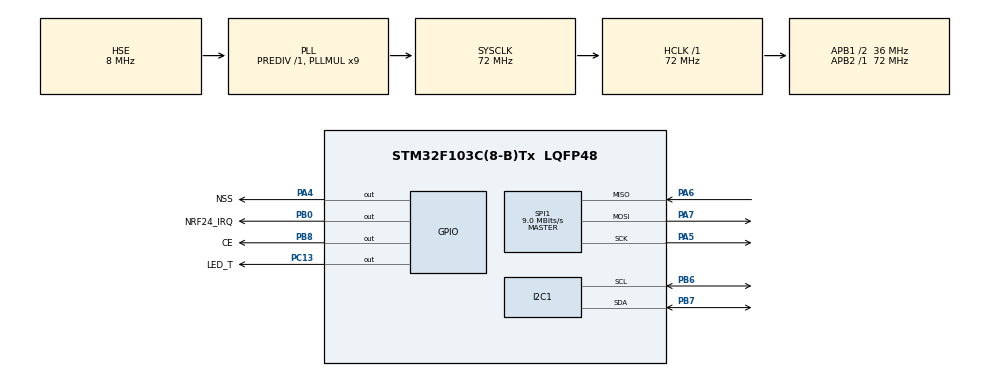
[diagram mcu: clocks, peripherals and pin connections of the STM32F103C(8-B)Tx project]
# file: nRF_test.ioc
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Dma.Request0=SPI1_RX
Dma.Request1=SPI1_TX
Dma.SPI1_RX.0.Direction=DMA_PERIPH_TO_MEMORY
Dma.SPI1_RX.0.Instance=DMA1_Channel2
Dma.SPI1_RX.0.MemDataAlignment=DMA_MDATAALIGN_BYTE
Dma.SPI1_RX.0.MemInc=DMA_MINC_ENABLE
Dma.SPI1_RX.0.Mode=DMA_NORMAL
Dma.SPI1_RX.0.PeriphDataAlignment=DMA_PDATAALIGN_BYTE
Dma.SPI1_RX.0.PeriphInc=DMA_PINC_DISABLE
Dma.SPI1_RX.0.Priority=DMA_PRIORITY_LOW
Dma.SPI1_TX.1.Direction=DMA_MEMORY_TO_PERIPH
Dma.SPI1_TX.1.Instance=DMA1_Channel3
Dma.SPI1_TX.1.MemDataAlignment=DMA_MDATAALIGN_BYTE
Dma.SPI1_TX.1.MemInc=DMA_MINC_ENABLE
Dma.SPI1_TX.1.Mode=DMA_NORMAL
Dma.SPI1_TX.1.PeriphDataAlignment=DMA_PDATAALIGN_BYTE
Dma.SPI1_TX.1.PeriphInc=DMA_PINC_DISABLE
Dma.SPI1_TX.1.Priority=DMA_PRIORITY_LOW
I2C1.DualAddressMode=I2C_DUALADDRESS_DISABLE
I2C1.DutyCycle=I2C_DUTYCYCLE_16_9
I2C1.I2C_Mode=I2C_Fast
I2C1.NoStretchMode=I2C_NOSTRETCH_DISABLE
Mcu.Family=STM32F1
Mcu.Name=STM32F103C(8-B)Tx
Mcu.Package=LQFP48
NVIC.DMA1_Channel2_IRQn=true\:0\:0\:false\:false\:true\:false\:true\:true
NVIC.DMA1_Channel3_IRQn=true\:0\:0\:false\:false\:true\:false\:true\:true
NVIC.PriorityGroup=NVIC_PRIORITYGROUP_4
PA13.Mode=Serial_Wire
PA13.Signal=SYS_JTMS-SWDIO
PA14.Mode=Serial_Wire
PA14.Signal=SYS_JTCK-SWCLK
PA4.GPIO_Label=NSS
PA4.Signal=GPIO_Output
PA5.Mode=Full_Duplex_Master
PA5.Signal=SPI1_SCK
PA6.Mode=Full_Duplex_Master
PA6.Signal=SPI1_MISO
PA7.Mode=Full_Duplex_Master
PA7.Signal=SPI1_MOSI
PB0.GPIO_Label=NRF24_IRQ
PB0.Signal=GPIO_Output
PB6.Mode=I2C
PB6.Signal=I2C1_SCL
PB7.Mode=I2C
PB7.Signal=I2C1_SDA
PB8.GPIO_Label=CE
PB8.Signal=GPIO_Output
PC13-TAMPER-RTC.GPIO_Label=LED_T
PC13-TAMPER-RTC.Signal=GPIO_Output
PC14-OSC32_IN.Mode=LSE-External-Oscillator
PC14-OSC32_IN.Signal=RCC_OSC32_IN
PC15-OSC32_OUT.Mode=LSE-External-Oscillator
PC15-OSC32_OUT.Signal=RCC_OSC32_OUT
PD0-OSC_IN.Mode=HSE-External-Oscillator
PD0-OSC_IN.Signal=RCC_OSC_IN
PD1-OSC_OUT.Mode=HSE-External-Oscillator
PD1-OSC_OUT.Signal=RCC_OSC_OUT
ProjectManager.HeapSize=0x200
ProjectManager.StackSize=0x400
ProjectManager.TargetToolchain=MDK-ARM V5.32
RCC.AHBFreq_Value=72000000
RCC.APB1CLKDivider=RCC_HCLK_DIV2
RCC.APB1Freq_Value=36000000
RCC.APB1TimFreq_Value=72000000
RCC.APB2Freq_Value=72000000
RCC.APB2TimFreq_Value=72000000
RCC.HCLKFreq_Value=72000000
RCC.PLLMUL=RCC_PLL_MUL9
RCC.PLLSourceVirtual=RCC_PLLSOURCE_HSE
RCC.SYSCLKFreq_VALUE=72000000
RCC.SYSCLKSource=RCC_SYSCLKSOURCE_PLLCLK
RCC.USBFreq_Value=72000000
SPI1.BaudRatePrescaler=SPI_BAUDRATEPRESCALER_8
SPI1.CRCCalculation=SPI_CRCCALCULATION_DISABLE
SPI1.CalculateBaudRate=9.0 MBits/s
SPI1.Direction=SPI_DIRECTION_2LINES
SPI1.Mode=SPI_MODE_MASTER
SPI1.VirtualType=VM_MASTER
board=custom

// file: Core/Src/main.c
/* USER CODE BEGIN Header */
/**
 ******************************************************************************
 * @file           : main.c
 * @brief          : Main program body
 ******************************************************************************
 * @attention
 *
 * Copyright (c) 2023 STMicroelectronics.
 * All rights reserved.
 *
 * This software is licensed under terms that can be found in the LICENSE file
 * in the root directory of this software component.
 * If no LICENSE file comes with this software, it is provided AS-IS.
 *
 ******************************************************************************
 */
/* USER CODE END Header */
#include "main.h"
#include "dma.h"
#include "i2c.h"
#include "spi.h"
#include "gpio.h"

/* USER CODE BEGIN Includes */
#include "oled.h"
#include "24l01.h"
/* USER CODE END Includes */

/* USER CODE BEGIN PM */
uint8_t txdata[32] = {31, 'B', 'B', 'B', 'B', 'B', 'B', 'B', 'B', 'B', 'B', 'B', 'B', 'B', 'B', 'B', 'B', 'B',
                      'B', 'B', 'B', 'B', 'B', 'B', 'B', 'B', 'B', 'B', 'B', 'B', 'B', 'B'};
uint8_t rxdata[32];

/* USER CODE END PM */

void SystemClock_Config(void);

int main(void)
{

    /* MCU Configuration--------------------------------------------------------*/

    /* Reset of all peripherals, Initializes the Flash interface and the Systick. */
    HAL_Init();

    /* Configure the system clock */
    SystemClock_Config();

    /* Initialize all configured peripherals */
    MX_GPIO_Init();
    MX_DMA_Init();
    MX_SPI1_Init();
    MX_I2C1_Init();
    /* USER CODE BEGIN 2 */
    HAL_GPIO_WritePin(LED_T_GPIO_Port, LED_T_Pin, GPIO_PIN_SET);
    OLED_Init();
    OLED_ShowString(1, 1, "hello world!");

    HAL_Delay(2000);
    /* USER CODE END 2 */

    /* Infinite loop */
    while (1)
    {

        /* USER CODE BEGIN 3 */
        //     while (NRF24L01_Check())
        //         ;
        //     if (NRF24L01_RxPacket(rxdata) == 0) // �??旦接收到信息,则显示出�??.
        //     {
        //         rxdata[32] = 0; // 加入字符串结束符
        //         NRF24L01_TX_Mode();
        //         NRF24L01_TxPacket(txdata);
        //     }
        //     HAL_Delay(500);
        // }

        NRF24L01_TX_Mode();
        HAL_Delay(0);
        while (1)
        {
            if (NRF24L01_TxPacket(txdata) == TX_OK)
            {
                OLED_ShowString(1, 1, "Sended DATA:");
                OLED_ShowString(2, 1, (char *)txdata);
            }
            else
            {
                OLED_Clear();
                OLED_ShowString(1, 1, "Sended fail!");
            }
            HAL_GPIO_TogglePin(LED_T_GPIO_Port, LED_T_Pin);
            HAL_Delay(500);
        }
    }

    /* USER CODE END 3 */
}

void SystemClock_Config(void)
{
    RCC_OscInitTypeDef RCC_OscInitStruct = {0};
    RCC_ClkInitTypeDef RCC_ClkInitStruct = {0};

    /** Initializes the RCC Oscillators according to the specified parameters
     * in the RCC_OscInitTypeDef structure.
     */
    RCC_OscInitStruct.OscillatorType = RCC_OSCILLATORTYPE_HSE;
    RCC_OscInitStruct.HSEState = RCC_HSE_ON;
    RCC_OscInitStruct.HSEPredivValue = RCC_HSE_PREDIV_DIV1;
    RCC_OscInitStruct.HSIState = RCC_HSI_ON;
    RCC_OscInitStruct.PLL.PLLState = RCC_PLL_ON;
    RCC_OscInitStruct.PLL.PLLSource = RCC_PLLSOURCE_HSE;
    RCC_OscInitStruct.PLL.PLLMUL = RCC_PLL_MUL9;
    if (HAL_RCC_OscConfig(&RCC_OscInitStruct) != HAL_OK)
    {
        Error_Handler();
    }

    /** Initializes the CPU, AHB and APB buses clocks
     */
    RCC_ClkInitStruct.ClockType = RCC_CLOCKTYPE_HCLK | RCC_CLOCKTYPE_SYSCLK | RCC_CLOCKTYPE_PCLK1 | RCC_CLOCKTYPE_PCLK2;
    RCC_ClkInitStruct.SYSCLKSource = RCC_SYSCLKSOURCE_PLLCLK;
    RCC_ClkInitStruct.AHBCLKDivider = RCC_SYSCLK_DIV1;
    RCC_ClkInitStruct.APB1CLKDivider = RCC_HCLK_DIV2;
    RCC_ClkInitStruct.APB2CLKDivider = RCC_HCLK_DIV1;

    if (HAL_RCC_ClockConfig(&RCC_ClkInitStruct, FLASH_LATENCY_2) != HAL_OK)
    {
        Error_Handler();
    }
}

void Error_Handler(void)
{
    __disable_irq();
    while (1)
    {
    }
}
